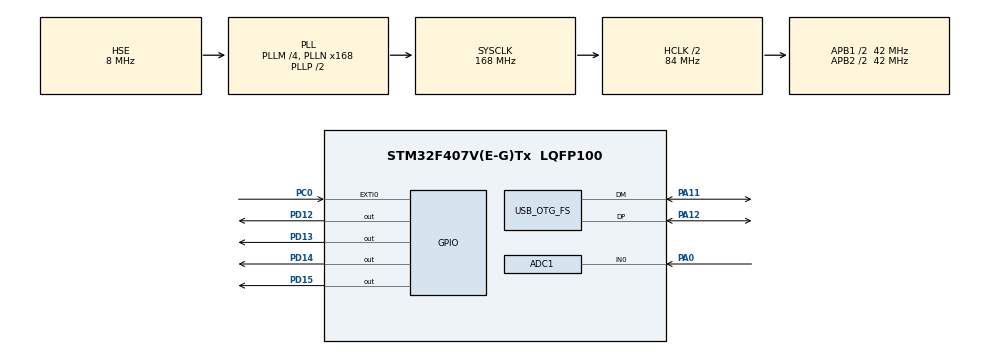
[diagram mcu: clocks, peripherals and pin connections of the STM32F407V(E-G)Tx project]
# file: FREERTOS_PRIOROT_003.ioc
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ADC1.Channel-0\#ChannelRegularConversion=ADC_CHANNEL_0
ADC1.NbrOfConversionFlag=1
ADC1.Rank-0\#ChannelRegularConversion=1
ADC1.SamplingTime-0\#ChannelRegularConversion=ADC_SAMPLETIME_3CYCLES
ADC1.master=1
Dma.ADC1.0.Direction=DMA_PERIPH_TO_MEMORY
Dma.ADC1.0.FIFOMode=DMA_FIFOMODE_DISABLE
Dma.ADC1.0.Instance=DMA2_Stream0
Dma.ADC1.0.MemDataAlignment=DMA_MDATAALIGN_HALFWORD
Dma.ADC1.0.MemInc=DMA_MINC_ENABLE
Dma.ADC1.0.Mode=DMA_NORMAL
Dma.ADC1.0.PeriphDataAlignment=DMA_PDATAALIGN_HALFWORD
Dma.ADC1.0.PeriphInc=DMA_PINC_DISABLE
Dma.ADC1.0.Priority=DMA_PRIORITY_LOW
Dma.Request0=ADC1
FREERTOS.BinarySemaphores01=myBinarySem01,Dynamic,NULL,Depleted
FREERTOS.Tasks01=HighTask,1,128,StartHighTask,Default,NULL,Dynamic,NULL,NULL;MediumTask,0,128,StartMediumTask,Default,NULL,Dynamic,NULL,NULL;LowTask,-1,128,StartLowTask,Default,NULL,Dynamic,NULL,NULL;VeryHighTask,2,128,StartVeryHighTask,Default,NULL,Dynamic,NULL,NULL
FREERTOS.configMAX_PRIORITIES=10
FREERTOS.configUSE_NEWLIB_REENTRANT=1
Mcu.Family=STM32F4
Mcu.Name=STM32F407V(E-G)Tx
Mcu.Package=LQFP100
NVIC.DMA2_Stream0_IRQn=true\:5\:0\:false\:false\:true\:true\:false\:true\:true
NVIC.EXTI0_IRQn=true\:5\:0\:false\:false\:true\:true\:true\:true\:true
NVIC.OTG_FS_IRQn=true\:5\:0\:false\:false\:true\:true\:false\:true\:true
NVIC.PriorityGroup=NVIC_PRIORITYGROUP_4
NVIC.TIM2_IRQn=true\:15\:0\:false\:false\:true\:false\:false\:true\:true
NVIC.TIM3_IRQn=true\:5\:0\:false\:false\:true\:true\:true\:true\:true
NVIC.TIM4_IRQn=true\:5\:0\:false\:false\:true\:true\:true\:true\:true
NVIC.TimeBase=TIM2_IRQn
NVIC.TimeBaseIP=TIM2
PA0-WKUP.Signal=ADCx_IN0
PA11.Mode=Device_Only
PA11.Signal=USB_OTG_FS_DM
PA12.Mode=Device_Only
PA12.Signal=USB_OTG_FS_DP
PA13.Mode=Serial_Wire
PA13.Signal=SYS_JTMS-SWDIO
PA14.Mode=Serial_Wire
PA14.Signal=SYS_JTCK-SWCLK
PC0.GPIO_PuPd=GPIO_PULLDOWN
PC0.Signal=GPXTI0
PD12.Signal=GPIO_Output
PD13.Signal=GPIO_Output
PD14.Signal=GPIO_Output
PD15.Signal=GPIO_Output
PH0-OSC_IN.Mode=HSE-External-Oscillator
PH0-OSC_IN.Signal=RCC_OSC_IN
PH1-OSC_OUT.Mode=HSE-External-Oscillator
PH1-OSC_OUT.Signal=RCC_OSC_OUT
ProjectManager.HeapSize=0x200
ProjectManager.StackSize=0x400
ProjectManager.TargetToolchain=STM32CubeIDE
RCC.48MHZClocksFreq_Value=48000000
RCC.AHBCLKDivider=RCC_SYSCLK_DIV2
RCC.AHBFreq_Value=84000000
RCC.APB1CLKDivider=RCC_HCLK_DIV2
RCC.APB1Freq_Value=42000000
RCC.APB1TimFreq_Value=84000000
RCC.APB2CLKDivider=RCC_HCLK_DIV2
RCC.APB2Freq_Value=42000000
RCC.APB2TimFreq_Value=84000000
RCC.CortexFreq_Value=84000000
RCC.HCLKFreq_Value=84000000
RCC.HSE_VALUE=8000000
RCC.HSI_VALUE=16000000
RCC.LSE_VALUE=32768
RCC.PLLM=4
RCC.PLLN=168
RCC.PLLQ=7
RCC.SYSCLKFreq_VALUE=168000000
RCC.SYSCLKSource=RCC_SYSCLKSOURCE_PLLCLK
RCC.VCOOutputFreq_Value=336000000
SH.ADCx_IN0.0=ADC1_IN0,IN0
TIM3.Period=29999
TIM3.Prescaler=8399
TIM4.Period=59999
TIM4.Prescaler=8399
USB_DEVICE.CLASS_NAME_FS=CDC
USB_DEVICE.PRODUCT_STRING_CDC_FS=STM32 VirtualPort
USB_DEVICE.VirtualMode-CDC_FS=Cdc
USB_DEVICE.VirtualModeFS=Cdc_FS
USB_OTG_FS.VirtualMode=Device_Only
VP_FREERTOS_VS_CMSIS_V1.Mode=CMSIS_V1
VP_SYS_VS_tim2.Mode=TIM2
VP_TIM3_VS_ClockSourceINT.Mode=Internal
VP_TIM4_VS_ClockSourceINT.Mode=Internal
VP_USB_DEVICE_VS_USB_DEVICE_CDC_FS.Mode=CDC_FS
board=custom

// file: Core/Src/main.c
/* USER CODE BEGIN Header */
/**
  ******************************************************************************
  * @file           : main.c
  * @brief          : Main program body
  ******************************************************************************
  * @attention
  *
  * Copyright (c) 2024 STMicroelectronics.
  * All rights reserved.
  *
  * This software is licensed under terms that can be found in the LICENSE file
  * in the root directory of this software component.
  * If no LICENSE file comes with this software, it is provided AS-IS.
  *
  ******************************************************************************
  */
/* USER CODE END Header */
#include "main.h"
#include "cmsis_os.h"
#include "usb_device.h"

/* USER CODE BEGIN Includes */

#include "usbd_cdc.h"
#include "usbd_conf.h"
#include "usbd_desc.h"
#include "usbd_cdc_if.h"

#include "string.h"
#include "stdint.h"

volatile uint8_t control_value = 0;

SemaphoreHandle_t myBinarySem02Handle;

/* USER CODE END Includes */

ADC_HandleTypeDef hadc1;
DMA_HandleTypeDef hdma_adc1;

TIM_HandleTypeDef htim3;
TIM_HandleTypeDef htim4;

osThreadId HighTaskHandle;
osThreadId MediumTaskHandle;
osThreadId LowTaskHandle;
osThreadId VeryHighTaskHandle;
osSemaphoreId myBinarySem01Handle;

void SystemClock_Config(void);
static void MX_GPIO_Init(void);
static void MX_DMA_Init(void);
static void MX_TIM3_Init(void);
static void MX_TIM4_Init(void);
static void MX_ADC1_Init(void);
void StartHighTask(void const * argument);
void StartMediumTask(void const * argument);
void StartLowTask(void const * argument);
void StartVeryHighTask(void const * argument);

/* USER CODE BEGIN 0 */

int8_t priorityHighTask = osPriorityAboveNormal;
int8_t priorityMediumTask = osPriorityNormal;
int8_t priorityLowTask = osPriorityBelowNormal;
int8_t priorityVeryHighTask = osPriorityHigh;

TaskHandle_t xTaskSensor1Ready;
TaskHandle_t xTaskSensor2Ready;
TaskHandle_t xTaskSensorsReady;

void TaskSensor1Ready(void *pvParameters);
void TaskSensor2Ready(void *pvParameters);
void TaskSensorsReady(void *pvParameters);

EventGroupHandle_t xEventGroup;

#define SENSOR_1_BIT (1 << 0)
#define SENSOR_2_BIT (1 << 1)

volatile uint8_t control1 = 0;
volatile uint8_t control2 = 0;

/* USER CODE END 0 */

int main(void)
{

  /* MCU Configuration--------------------------------------------------------*/

  /* Reset of all peripherals, Initializes the Flash interface and the Systick. */
  HAL_Init();

  /* Configure the system clock */
  SystemClock_Config();

  /* Initialize all configured peripherals */
  MX_GPIO_Init();
  MX_DMA_Init();
  MX_TIM3_Init();
  MX_TIM4_Init();
  MX_ADC1_Init();
  /* USER CODE BEGIN 2 */

  MX_USB_DEVICE_Init();

  /* USER CODE END 2 */

  /* Create the semaphores(s) */
  /* definition and creation of myBinarySem01 */
  osSemaphoreDef(myBinarySem01);
  myBinarySem01Handle = osSemaphoreCreate(osSemaphore(myBinarySem01), 1);

  /* USER CODE BEGIN RTOS_SEMAPHORES */
  /* add semaphores, ... */

  myBinarySem02Handle = xSemaphoreCreateBinary();

  /* USER CODE END RTOS_SEMAPHORES */

  /* Create the thread(s) */
  /* definition and creation of HighTask */
  osThreadDef(HighTask, StartHighTask, osPriorityAboveNormal, 0, 128);
  HighTaskHandle = osThreadCreate(osThread(HighTask), NULL);

  /* definition and creation of MediumTask */
  osThreadDef(MediumTask, StartMediumTask, osPriorityNormal, 0, 128);
  MediumTaskHandle = osThreadCreate(osThread(MediumTask), NULL);

  /* definition and creation of LowTask */
  osThreadDef(LowTask, StartLowTask, osPriorityBelowNormal, 0, 128);
  LowTaskHandle = osThreadCreate(osThread(LowTask), NULL);

  /* definition and creation of VeryHighTask */
  osThreadDef(VeryHighTask, StartVeryHighTask, osPriorityHigh, 0, 128);
  VeryHighTaskHandle = osThreadCreate(osThread(VeryHighTask), NULL);

  /* USER CODE BEGIN RTOS_THREADS */
  /* add threads, ... */

  xTaskCreate(TaskSensor1Ready, "Task 1", 1000, NULL, 3, &xTaskSensor1Ready);
  xTaskCreate(TaskSensor2Ready, "Task 2", 1000, NULL, 3, &xTaskSensor2Ready);
  xTaskCreate(TaskSensorsReady, "Task 3", 1000, NULL, 4, &xTaskSensorsReady);

  /* USER CODE END RTOS_THREADS */

  /* Start scheduler */
  osKernelStart();

  /* We should never get here as control is now taken by the scheduler */

  /* Infinite loop */
  while (1)
  {

  }
}

void SystemClock_Config(void)
{
  RCC_OscInitTypeDef RCC_OscInitStruct = {0};
  RCC_ClkInitTypeDef RCC_ClkInitStruct = {0};

  /** Configure the main internal regulator output voltage
  */
  __HAL_RCC_PWR_CLK_ENABLE();
  __HAL_PWR_VOLTAGESCALING_CONFIG(PWR_REGULATOR_VOLTAGE_SCALE1);

  /** Initializes the RCC Oscillators according to the specified parameters
  * in the RCC_OscInitTypeDef structure.
  */
  RCC_OscInitStruct.OscillatorType = RCC_OSCILLATORTYPE_HSE;
  RCC_OscInitStruct.HSEState = RCC_HSE_ON;
  RCC_OscInitStruct.PLL.PLLState = RCC_PLL_ON;
  RCC_OscInitStruct.PLL.PLLSource = RCC_PLLSOURCE_HSE;
  RCC_OscInitStruct.PLL.PLLM = 4;
  RCC_OscInitStruct.PLL.PLLN = 168;
  RCC_OscInitStruct.PLL.PLLP = RCC_PLLP_DIV2;
  RCC_OscInitStruct.PLL.PLLQ = 7;
  if (HAL_RCC_OscConfig(&RCC_OscInitStruct) != HAL_OK)
  {
    Error_Handler();
  }

  /** Initializes the CPU, AHB and APB buses clocks
  */
  RCC_ClkInitStruct.ClockType = RCC_CLOCKTYPE_HCLK|RCC_CLOCKTYPE_SYSCLK
                              |RCC_CLOCKTYPE_PCLK1|RCC_CLOCKTYPE_PCLK2;
  RCC_ClkInitStruct.SYSCLKSource = RCC_SYSCLKSOURCE_PLLCLK;
  RCC_ClkInitStruct.AHBCLKDivider = RCC_SYSCLK_DIV2;
  RCC_ClkInitStruct.APB1CLKDivider = RCC_HCLK_DIV2;
  RCC_ClkInitStruct.APB2CLKDivider = RCC_HCLK_DIV2;

  if (HAL_RCC_ClockConfig(&RCC_ClkInitStruct, FLASH_LATENCY_2) != HAL_OK)
  {
    Error_Handler();
  }
}

static void MX_ADC1_Init(void)
{

  ADC_ChannelConfTypeDef sConfig = {0};

  /** Configure the global features of the ADC (Clock, Resolution, Data Alignment and number of conversion)
  */
  hadc1.Instance = ADC1;
  hadc1.Init.ClockPrescaler = ADC_CLOCK_SYNC_PCLK_DIV2;
  hadc1.Init.Resolution = ADC_RESOLUTION_12B;
  hadc1.Init.ScanConvMode = DISABLE;
  hadc1.Init.ContinuousConvMode = DISABLE;
  hadc1.Init.DiscontinuousConvMode = DISABLE;
  hadc1.Init.ExternalTrigConvEdge = ADC_EXTERNALTRIGCONVEDGE_NONE;
  hadc1.Init.ExternalTrigConv = ADC_SOFTWARE_START;
  hadc1.Init.DataAlign = ADC_DATAALIGN_RIGHT;
  hadc1.Init.NbrOfConversion = 1;
  hadc1.Init.DMAContinuousRequests = DISABLE;
  hadc1.Init.EOCSelection = ADC_EOC_SINGLE_CONV;
  if (HAL_ADC_Init(&hadc1) != HAL_OK)
  {
    Error_Handler();
  }

  /** Configure for the selected ADC regular channel its corresponding rank in the sequencer and its sample time.
  */
  sConfig.Channel = ADC_CHANNEL_0;
  sConfig.Rank = 1;
  sConfig.SamplingTime = ADC_SAMPLETIME_3CYCLES;
  if (HAL_ADC_ConfigChannel(&hadc1, &sConfig) != HAL_OK)
  {
    Error_Handler();
  }

}

static void MX_TIM3_Init(void)
{

  TIM_ClockConfigTypeDef sClockSourceConfig = {0};
  TIM_MasterConfigTypeDef sMasterConfig = {0};

  htim3.Instance = TIM3;
  htim3.Init.Prescaler = 8399;
  htim3.Init.CounterMode = TIM_COUNTERMODE_UP;
  htim3.Init.Period = 29999;
  htim3.Init.ClockDivision = TIM_CLOCKDIVISION_DIV1;
  htim3.Init.AutoReloadPreload = TIM_AUTORELOAD_PRELOAD_DISABLE;
  if (HAL_TIM_Base_Init(&htim3) != HAL_OK)
  {
    Error_Handler();
  }
  sClockSourceConfig.ClockSource = TIM_CLOCKSOURCE_INTERNAL;
  if (HAL_TIM_ConfigClockSource(&htim3, &sClockSourceConfig) != HAL_OK)
  {
    Error_Handler();
  }
  sMasterConfig.MasterOutputTrigger = TIM_TRGO_RESET;
  sMasterConfig.MasterSlaveMode = TIM_MASTERSLAVEMODE_DISABLE;
  if (HAL_TIMEx_MasterConfigSynchronization(&htim3, &sMasterConfig) != HAL_OK)
  {
    Error_Handler();
  }

}

static void MX_TIM4_Init(void)
{

  TIM_ClockConfigTypeDef sClockSourceConfig = {0};
  TIM_MasterConfigTypeDef sMasterConfig = {0};

  htim4.Instance = TIM4;
  htim4.Init.Prescaler = 8399;
  htim4.Init.CounterMode = TIM_COUNTERMODE_UP;
  htim4.Init.Period = 59999;
  htim4.Init.ClockDivision = TIM_CLOCKDIVISION_DIV1;
  htim4.Init.AutoReloadPreload = TIM_AUTORELOAD_PRELOAD_DISABLE;
  if (HAL_TIM_Base_Init(&htim4) != HAL_OK)
  {
    Error_Handler();
  }
  sClockSourceConfig.ClockSource = TIM_CLOCKSOURCE_INTERNAL;
  if (HAL_TIM_ConfigClockSource(&htim4, &sClockSourceConfig) != HAL_OK)
  {
    Error_Handler();
  }
  sMasterConfig.MasterOutputTrigger = TIM_TRGO_RESET;
  sMasterConfig.MasterSlaveMode = TIM_MASTERSLAVEMODE_DISABLE;
  if (HAL_TIMEx_MasterConfigSynchronization(&htim4, &sMasterConfig) != HAL_OK)
  {
    Error_Handler();
  }

}

static void MX_DMA_Init(void)
{

  /* DMA controller clock enable */
  __HAL_RCC_DMA2_CLK_ENABLE();

  /* DMA interrupt init */
  /* DMA2_Stream0_IRQn interrupt configuration */
  HAL_NVIC_SetPriority(DMA2_Stream0_IRQn, 5, 0);
  HAL_NVIC_EnableIRQ(DMA2_Stream0_IRQn);

}

static void MX_GPIO_Init(void)
{
  GPIO_InitTypeDef GPIO_InitStruct = {0};

  /* GPIO Ports Clock Enable */
  __HAL_RCC_GPIOH_CLK_ENABLE();
  __HAL_RCC_GPIOC_CLK_ENABLE();
  __HAL_RCC_GPIOA_CLK_ENABLE();
  __HAL_RCC_GPIOD_CLK_ENABLE();

  /*Configure GPIO pin Output Level */
  HAL_GPIO_WritePin(GPIOD, GPIO_PIN_12|GPIO_PIN_13|GPIO_PIN_14|GPIO_PIN_15, GPIO_PIN_RESET);

  /*Configure GPIO pin : PC0 */
  GPIO_InitStruct.Pin = GPIO_PIN_0;
  GPIO_InitStruct.Mode = GPIO_MODE_IT_RISING;
  GPIO_InitStruct.Pull = GPIO_PULLDOWN;
  HAL_GPIO_Init(GPIOC, &GPIO_InitStruct);

  /*Configure GPIO pins : PD12 PD13 PD14 PD15 */
  GPIO_InitStruct.Pin = GPIO_PIN_12|GPIO_PIN_13|GPIO_PIN_14|GPIO_PIN_15;
  GPIO_InitStruct.Mode = GPIO_MODE_OUTPUT_PP;
  GPIO_InitStruct.Pull = GPIO_NOPULL;
  GPIO_InitStruct.Speed = GPIO_SPEED_FREQ_LOW;
  HAL_GPIO_Init(GPIOD, &GPIO_InitStruct);

  /* EXTI interrupt init*/
  HAL_NVIC_SetPriority(EXTI0_IRQn, 5, 0);
  HAL_NVIC_EnableIRQ(EXTI0_IRQn);

}

/* USER CODE BEGIN 4 */

void HAL_GPIO_EXTI_Callback(uint16_t GPIO_Pin)
{
	if(GPIO_Pin == GPIO_PIN_0)
	{
		while(HAL_GPIO_ReadPin(GPIOA,GPIO_PIN_0));
		HAL_TIM_Base_Start_IT(&htim3);
		HAL_TIM_Base_Start_IT(&htim4);

	}
}

// HAL_TIM_Base_Start_IT()

void TaskSensor1Ready(void *pvParameters)
{
	if(control1 == 1)
	{
		xEventGroupSetBits(xEventGroup, SENSOR_1_BIT);
		HAL_GPIO_WritePin(GPIOD,GPIO_PIN_12,GPIO_PIN_SET);
		control1 = 0;
	}

}

void TaskSensor2Ready(void *pvParameters)
{
	if(control2 == 1)
	{
		xEventGroupSetBits(xEventGroup, SENSOR_2_BIT);
		HAL_GPIO_WritePin(GPIOD,GPIO_PIN_13,GPIO_PIN_SET);
		control2 = 0;
	}

}

void TaskSensorsReady(void *pvParameters)
{
	xEventGroupWaitBits(xEventGroup,SENSOR_1_BIT | SENSOR_2_BIT, pdTRUE, pdTRUE, portMAX_DELAY);
	//HAL_GPIO_WritePin(GPIOD,GPIO_PIN_12 | GPIO_PIN_13,GPIO_PIN_RESET);
	HAL_GPIO_WritePin(GPIOD,GPIO_PIN_14,GPIO_PIN_SET);

}

/* USER CODE END 4 */

void StartHighTask(void const * argument)
{
  /* init code for USB_DEVICE */
  MX_USB_DEVICE_Init();
  /* USER CODE BEGIN 5 */
  /* Infinite loop */
  for(;;)
  {
	  HAL_Delay(1);
	  char *str1 = "Entered High Task !\n";
	  CDC_Transmit_FS((uint8_t *)str1, strlen(str1));
	  HAL_Delay(1);

	  vTaskPrioritySet(MediumTaskHandle, priorityHighTask + 2);

	  vTaskDelay(pdMS_TO_TICKS(2000));
  }
  /* USER CODE END 5 */
}

void StartMediumTask(void const * argument)
{
  /* USER CODE BEGIN StartMediumTask */
  /* Infinite loop */
  for(;;)
  {
	  HAL_Delay(1);
	  char *str1 = "Entered Medium Task !\n";
	  CDC_Transmit_FS((uint8_t *)str1, strlen(str1));
	  HAL_Delay(1);

	  vTaskPrioritySet(MediumTaskHandle, priorityMediumTask);

	  vTaskDelay(pdMS_TO_TICKS(2000));
  }
  /* USER CODE END StartMediumTask */
}

void StartLowTask(void const * argument)
{
  /* USER CODE BEGIN StartLowTask */
  /* Infinite loop */
  for(;;)
  {
	  HAL_Delay(1);
	  char *str1 = "Entered Low Task !\n";
	  CDC_Transmit_FS((uint8_t *)str1, strlen(str1));
	  HAL_Delay(1);

	  if(control_value == 3)
	  {
		  xSemaphoreGive(myBinarySem02Handle);
		  // xTaskNotifyGive(VeryHighTaskHandle);
	  }
	  else
	  {
		  control_value = control_value + 1;
	  }

	  vTaskDelay(pdMS_TO_TICKS(2000));
  }
  /* USER CODE END StartLowTask */
}

void StartVeryHighTask(void const * argument)
{
  /* USER CODE BEGIN StartVeryHighTask */

  /* Infinite loop */
  for(;;)
  {
//		if(xSemaphoreTake(myBinarySem02Handle,portMAX_DELAY) == pdTRUE)
//		{
//			char *str1 = "Delete Low Task !\n";
//			CDC_Transmit_FS((uint8_t *)str1, strlen(str1));
//
//			vTaskDelete(LowTaskHandle);
//		}

		// ulTaskNotifyTake(pdTRUE, portMAX_DELAY);
	  	xSemaphoreTake(myBinarySem02Handle,portMAX_DELAY);

		char *str1 = "Delete Low Task !\n";
		CDC_Transmit_FS((uint8_t *)str1, strlen(str1));

		vTaskDelete(LowTaskHandle);

  }
  /* USER CODE END StartVeryHighTask */
}

void HAL_TIM_PeriodElapsedCallback(TIM_HandleTypeDef *htim)
{
  if (htim->Instance == TIM2) {
    HAL_IncTick();
  }
  /* USER CODE BEGIN Callback 1 */

  if(htim->Instance == TIM3)
  {
	  control1 = 1;
  }

  if(htim->Instance == TIM4)
  {
	  control2 = 1;
  }

  /* USER CODE END Callback 1 */
}

void Error_Handler(void)
{
  __disable_irq();
  while (1)
  {
  }
}
